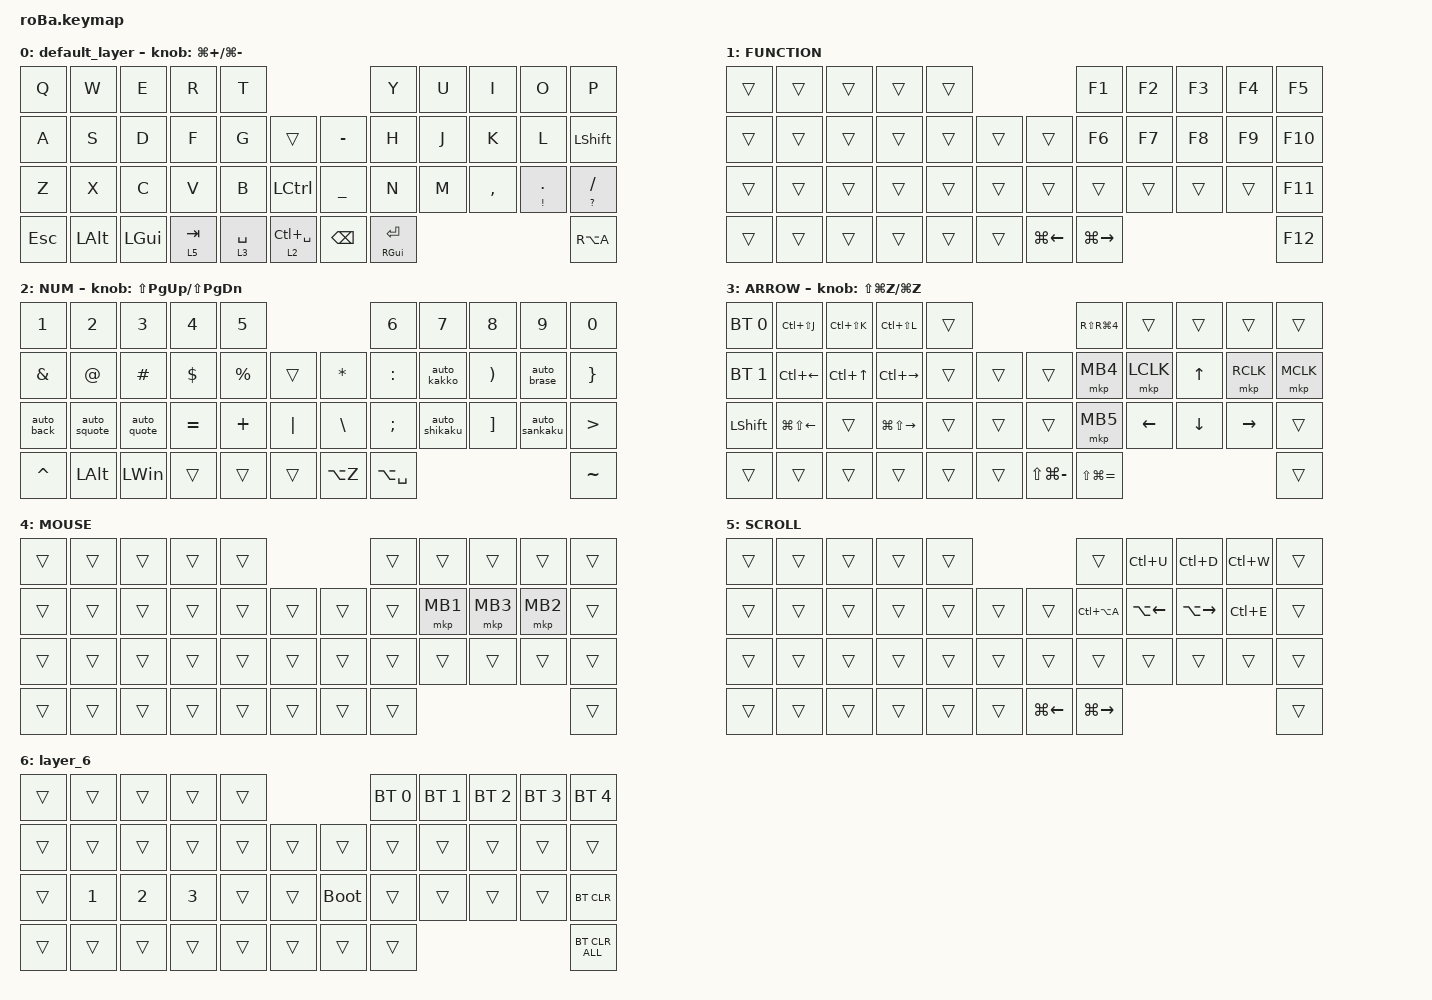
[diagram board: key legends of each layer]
#include <dt-bindings/zmk/mouse.h>
#include <behaviors.dtsi>
#include <dt-bindings/zmk/bt.h>
#include <dt-bindings/zmk/keys.h>
#include <dt-bindings/zmk/pointing.h>

#define MOUSE 4
#define SCROLL 5
#define NUM 6

&mt {
    flavor = "balanced";
    quick-tap-ms = <0>;
};

/ {
    combos {
        compatible = "zmk,combos";

        eq {
            bindings = <&kp EQUAL>;
            key-positions = <14 17>;
        };

        aster {
            bindings = <&kp ASTERISK>;
            key-positions = <22 23>;
        };

        screen {
            bindings = <&screen_shot INT_MUHENKAN>;
            key-positions = <0 1>;
        };

        slack_from {
            bindings = <&slack_from>;
            key-positions = <20 21>;
        };

        slack_in {
            bindings = <&slack_in>;
            key-positions = <32 33>;
        };
    };

    macros {
        screen_shot: to_layer_0 {
            compatible = "zmk,behavior-macro";
            #binding-cells = <0>;
            bindings = <&kp LS(LG(NUMBER_4))>;
            label = "TO_LAYER_0";
        };

        auto_kakko: auto_kakko {
            compatible = "zmk,behavior-macro";
            #binding-cells = <0>;
            bindings = <&kp LEFT_PARENTHESIS &kp RIGHT_PARENTHESIS &kp LEFT_ARROW>;
            label = "AUTO_KAKKO";
        };

        auto_brase: auto_brase {
            compatible = "zmk,behavior-macro";
            #binding-cells = <0>;
            bindings = <&kp LEFT_BRACE &kp RIGHT_BRACE &kp LEFT_ARROW>;
            label = "AUTO_BRASE";
        };

        auto_sankaku: auto_sankaku {
            compatible = "zmk,behavior-macro";
            #binding-cells = <0>;
            bindings = <&kp LESS_THAN &kp GREATER_THAN &kp LEFT_ARROW>;
            label = "AUTO_SANKAKU";
        };

        auto_shikaku: auto_shikaku {
            compatible = "zmk,behavior-macro";
            #binding-cells = <0>;
            bindings = <&kp LEFT_BRACKET &kp RIGHT_BRACKET &kp LEFT_ARROW>;
            label = "AUTO_SHIKAKU";
        };

        auto_quote: auto_quote {
            compatible = "zmk,behavior-macro";
            #binding-cells = <0>;
            bindings = <&kp DOUBLE_QUOTES &kp DOUBLE_QUOTES &kp LEFT_ARROW>;
            label = "AUTO_QUOTE";
        };

        auto_squote: auto_squote {
            compatible = "zmk,behavior-macro";
            #binding-cells = <0>;
            bindings = <&kp SINGLE_QUOTE &kp SINGLE_QUOTE &kp LEFT>;
            label = "AUTO_SQUOTE";
        };

        auto_back: auto_back {
            compatible = "zmk,behavior-macro";
            #binding-cells = <0>;
            bindings = <&kp GRAVE &kp GRAVE &kp LEFT>;
            label = "AUTO_BACK";
        };

        slack_from: slack_from {
            compatible = "zmk,behavior-macro";
            #binding-cells = <0>;
            bindings = <&kp LANGUAGE_2 &kp F &kp R &kp O &kp M &kp COLON &kp AT_SIGN>;
            label = "SLACK_FROM";
        };

        slack_in: slack_in {
            compatible = "zmk,behavior-macro";
            #binding-cells = <0>;
            bindings = <&kp LANGUAGE_2 &kp I &kp N &kp COLON &kp HASH>;
            label = "SLACK_IN";
        };
    };

    behaviors {
        lt_to_layer_0: lt_to_layer_0 {
            compatible = "zmk,behavior-hold-tap";
            label = "LAYER_TAP_TO_0";
            bindings = <&mo>, <&screen_shot>;

            #binding-cells = <2>;
            tapping-term-ms = <200>;
        };
    };

    keymap {
        compatible = "zmk,keymap";

        default_layer {
            bindings = <
&kp Q       &kp W         &kp E         &kp R      &kp T                                             &kp Y                &kp U  &kp I      &kp O         &kp P
&kp A       &kp S         &kp D         &kp F      &kp G        &trans               &kp MINUS       &kp H                &kp J  &kp K      &kp L         &kp LEFT_SHIFT
&kp Z       &kp X         &kp C         &kp V      &kp B        &kp LCTRL            &kp UNDERSCORE  &kp N                &kp M  &kp COMMA  &mt EXCL DOT  &mt QUESTION SLASH
&kp ESCAPE  &kp LEFT_ALT  &kp LEFT_GUI  &lt 5 TAB  &lt 3 SPACE  &lt 2 LC(SPACE)      &kp BACKSPACE   &mt RIGHT_GUI ENTER                                  &kp RA(A)
            >;

            sensor-bindings = <&inc_dec_kp LG(PLUS) LG(MINUS)>;
        };

        FUNCTION {
            bindings = <
&trans  &trans  &trans  &trans  &trans                                  &kp F1               &kp F2  &kp F3  &kp F4  &kp F5
&trans  &trans  &trans  &trans  &trans  &trans      &trans              &kp F6               &kp F7  &kp F8  &kp F9  &kp F10
&trans  &trans  &trans  &trans  &trans  &trans      &trans              &trans               &trans  &trans  &trans  &kp F11
&trans  &trans  &trans  &trans  &trans  &trans      &kp LG(LEFT_ARROW)  &kp LG(RIGHT_ARROW)                          &kp F12
            >;
        };

        NUM {
            bindings = <
&kp NUMBER_1   &kp NUMBER_2  &kp NUMBER_3  &kp NUMBER_4  &kp NUMBER_5                               &kp NUMBER_6   &kp NUMBER_7   &kp NUMBER_8           &kp NUMBER_9   &kp NUMBER_0
&kp AMPERSAND  &kp AT_SIGN   &kp HASH      &kp DOLLAR    &kp PERCENT   &trans        &kp ASTERISK   &kp COLON      &auto_kakko    &kp RIGHT_PARENTHESIS  &auto_brase    &kp RIGHT_BRACE
&auto_back     &auto_squote  &auto_quote   &kp EQUAL     &kp PLUS      &kp PIPE      &kp BACKSLASH  &kp SEMI       &auto_shikaku  &kp RIGHT_BRACKET      &auto_sankaku  &kp GREATER_THAN
&kp CARET      &kp LEFT_ALT  &kp LEFT_WIN  &trans        &trans        &trans        &kp LA(Z)      &kp LA(SPACE)                                                       &kp TILDE
            >;

            sensor-bindings = <&inc_dec_kp LS(PAGE_UP) LS(PAGE_DOWN)>;
        };

        ARROW {
            bindings = <
&bt BT_SEL 0    &kp LC(LS(J))           &kp LC(LS(K))     &kp LC(LS(L))            &trans                                 &kp RS(RG(NUMBER_4))  &trans          &trans          &trans           &trans
&bt BT_SEL 1    &kp LC(LEFT_ARROW)      &kp LC(UP_ARROW)  &kp LC(RIGHT_ARROW)      &trans  &trans      &trans             &mkp MB4              &mkp LCLK       &kp UP_ARROW    &mkp RCLK        &mkp MCLK
&kp LEFT_SHIFT  &kp LG(LS(LEFT_ARROW))  &trans            &kp LG(LS(RIGHT_ARROW))  &trans  &trans      &trans             &mkp MB5              &kp LEFT_ARROW  &kp DOWN_ARROW  &kp RIGHT_ARROW  &trans
&trans          &trans                  &trans            &trans                   &trans  &trans      &kp LS(LG(MINUS))  &kp LS(LG(EQUAL))                                                      &trans
            >;

            sensor-bindings = <&inc_dec_kp LS(LG(Z)) LG(Z)>;
        };

        MOUSE {
            bindings = <
&trans  &trans  &trans  &trans  &trans                      &trans  &trans    &trans    &trans    &trans
&trans  &trans  &trans  &trans  &trans  &trans      &trans  &trans  &mkp MB1  &mkp MB3  &mkp MB2  &trans
&trans  &trans  &trans  &trans  &trans  &trans      &trans  &trans  &trans    &trans    &trans    &trans
&trans  &trans  &trans  &trans  &trans  &trans      &trans  &trans                                &trans
            >;
        };

        SCROLL {
            bindings = <
&trans  &trans  &trans  &trans  &trans                                  &trans               &kp LC(U)           &kp LC(D)            &kp LC(W)  &trans
&trans  &trans  &trans  &trans  &trans  &trans      &trans              &kp LC(LA(A))        &kp LA(LEFT_ARROW)  &kp LA(RIGHT_ARROW)  &kp LC(E)  &trans
&trans  &trans  &trans  &trans  &trans  &trans      &trans              &trans               &trans              &trans               &trans     &trans
&trans  &trans  &trans  &trans  &trans  &trans      &kp LG(LEFT_ARROW)  &kp LG(RIGHT_ARROW)                                                      &trans
            >;
        };

        layer_6 {
            bindings = <
&trans  &trans        &trans        &trans        &trans                           &bt BT_SEL 0  &bt BT_SEL 1  &bt BT_SEL 2  &bt BT_SEL 3  &bt BT_SEL 4
&trans  &trans        &trans        &trans        &trans  &trans      &trans       &trans        &trans        &trans        &trans        &trans
&trans  &kp NUMBER_1  &kp NUMBER_2  &kp NUMBER_3  &trans  &trans      &bootloader  &trans        &trans        &trans        &trans        &bt BT_CLR
&trans  &trans        &trans        &trans        &trans  &trans      &trans       &trans                                                  &bt BT_CLR_ALL
            >;
        };
    };
};
